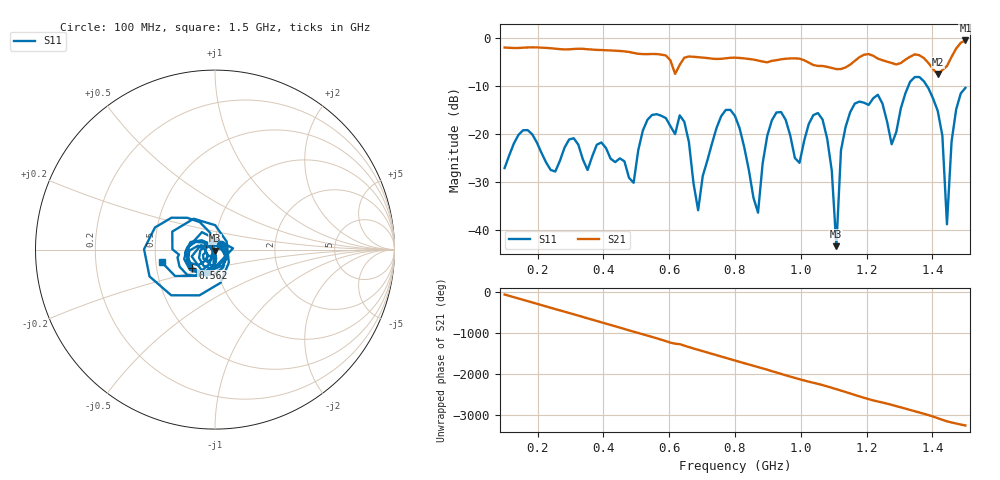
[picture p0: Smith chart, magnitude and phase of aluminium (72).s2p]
! NanoVNA-App
! Date: 2025-09-25 14:55:50
! Start: 100MHz Stop: 1,5GHz Points: 101
! S-Parameter data: F S11 S21 S12 S22
# Hz S RI R 50
!  Frequency  S11_Real  S11_Imag  S21_Real  S21_Imag  S12_Real  S12_Imag  S22_Real  S22_Imag
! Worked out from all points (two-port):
!   101 points, 100 MHz to 1.5 GHz, reference 50 ohm
!   highest |S21| = -0.46 dB at 1.5 GHz (marker M1); lowest = -7.5 dB at 1.416 GHz (marker M2)
!   |S21| within 3 dB of the highest: start of sweep to 580.6 MHz; 1.461 GHz to end of sweep (the widest 2 of 4)
!   lowest |S11| = -43.3 dB at 1.108 GHz (marker M3), VSWR 1.01, Z = 50.1 - j0.683 ohm
!   |S11| at or under -10 dB: start of sweep to 1.326 GHz; 1.384 GHz to end of sweep
!   S12 and S22 are empty: the file has one direction only
!   S11 on the Smith chart (normalised r, x): 100 MHz: 1.07, +0.06; 562 MHz: 0.76, -0.16; 1.5 GHz: 0.54, -0.08
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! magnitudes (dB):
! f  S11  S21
! 100 MHz  -27.0  -1.9
! 338 MHz  -25.3  -2.2
! 492 MHz  -30.1  -3.1
! 562 MHz  -15.8  -3.3
! 576 MHz  -16.1  -3.4
! 646 MHz  -17.4  -4.0
! 688 MHz  -35.8  -3.9
! 800 MHz  -16.2  -4.0
! 870 MHz  -36.3  -4.6
! 912 MHz  -17.1  -4.7
! 996 MHz  -25.9  -4.2
! 1.038 GHz  -16.0  -5.6
! 1.08 GHz  -20.9  -6.0
! 1.108 GHz  -43.3  -6.4
! 1.122 GHz  -23.3  -6.4
! 1.164 GHz  -13.6  -4.7
! 1.276 GHz  -22.1  -5.2
! 1.346 GHz  -8.1  -3.4
! 1.416 GHz  -15.1  -7.5
! 1.444 GHz  -38.7  -5.8
! 1.458 GHz  -21.5  -3.9
! 1.5 GHz  -10.3  -0.5
